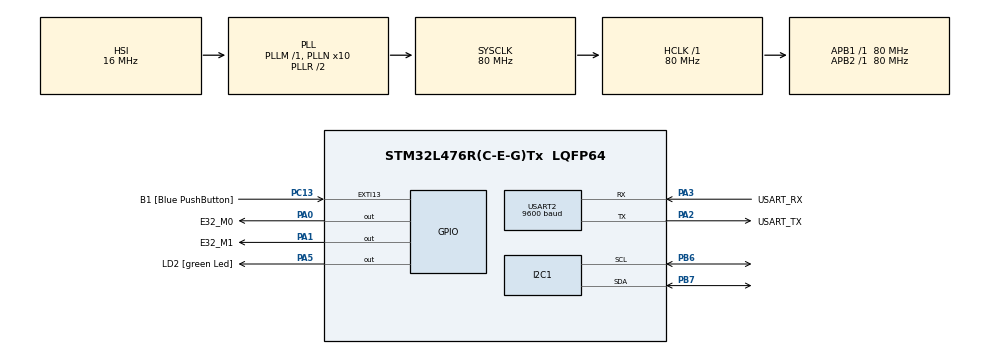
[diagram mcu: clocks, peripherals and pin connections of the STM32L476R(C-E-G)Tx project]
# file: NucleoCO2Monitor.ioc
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Mcu.Family=STM32L4
PA2.GPIO_PuPd=GPIO_NOPULL
TIM17.Prescaler=8000 - 1
RCC.CortexFreq_Value=80000000
VP_TIM17_VS_ClockSourceINT.Mode=Enable_Timer
PH0-OSC_IN\ (PH0).Signal=RCC_OSC_IN
PA3.GPIO_PuPd=GPIO_NOPULL
PA0.GPIO_Label=E32_M0
PA2.GPIO_Speed=GPIO_SPEED_FREQ_VERY_HIGH
PC15-OSC32_OUT\ (PC15).Mode=LSE-External-Oscillator
PC13.GPIO_Label=B1 [Blue PushButton]
PA3.GPIO_Speed=GPIO_SPEED_FREQ_VERY_HIGH
RCC.SYSCLKSource=RCC_SYSCLKSOURCE_PLLCLK
ProjectManager.StackSize=0x400
PB3\ (JTDO-TRACESWO).Signal=SYS_JTDO-SWO
PC14-OSC32_IN\ (PC14).Mode=LSE-External-Oscillator
PA14\ (JTCK-SWCLK).Signal=SYS_JTCK-SWCLK
TIM17.AutoReloadPreload=TIM_AUTORELOAD_PRELOAD_DISABLE
RCC.HCLKFreq_Value=80000000
RCC.APB2TimFreq_Value=80000000
PB6.Signal=I2C1_SCL
PB6.Mode=I2C
RCC.AHBFreq_Value=80000000
RCC.PREFETCH_ENABLE=1
RCC.HSE_VALUE=8000000
USART2.VirtualMode-Asynchronous=VM_ASYNC
TIM17.Period=5000
NVIC.TIM1_TRG_COM_TIM17_IRQn=true\:0\:0\:false\:false\:true\:true\:true
PA5.GPIO_PuPd=GPIO_NOPULL
PC13.GPIO_PuPd=GPIO_NOPULL
PB7.Signal=I2C1_SDA
PA0.Signal=GPIO_Output
Mcu.Package=LQFP64
PA2.GPIO_Label=USART_TX
RCC.APB1TimFreq_Value=80000000
TIM16.Prescaler=40000 - 1
PA13\ (JTMS-SWDIO).Signal=SYS_JTMS-SWDIO
PA3.Signal=USART2_RX
PA2.GPIO_Mode=GPIO_MODE_AF_PP
RCC.MSI_VALUE=4000000
RCC.PLLSourceVirtual=RCC_PLLSOURCE_HSI
PA14\ (JTCK-SWCLK).Mode=Serial_Wire
PC13.Signal=GPXTI13
PC15-OSC32_OUT\ (PC15).Signal=RCC_OSC32_OUT
VP_TIM16_VS_ClockSourceINT.Mode=Enable_Timer
PA14\ (JTCK-SWCLK).GPIO_Label=TCK
PB3\ (JTDO-TRACESWO).GPIO_Label=SWO
USART2.BaudRate=9600
PH1-OSC_OUT\ (PH1).Signal=RCC_OSC_OUT
PA3.Mode=Asynchronous
ProjectManager.TargetToolchain=STM32CubeIDE
PA3.GPIO_Mode=GPIO_MODE_AF_PP
I2C1.Timing=0x10909CEC
RCC.USBFreq_Value=64000000
PA1.Signal=GPIO_Output
PA5.Signal=GPIO_Output
board=NUCLEO-L476RG
RCC.VCOOutputFreq_Value=160000000
TIM16.Period=20000
RCC.APB2Freq_Value=80000000
PA5.GPIO_ModeDefaultOutputPP=GPIO_MODE_OUTPUT_PP
PA13\ (JTMS-SWDIO).GPIO_Label=TMS
RCC.ADCFreq_Value=64000000
PA1.GPIO_Label=E32_M1
Mcu.Name=STM32L476R(C-E-G)Tx
PA2.Signal=USART2_TX
PA13\ (JTMS-SWDIO).Mode=Serial_Wire
RCC.SYSCLKFreq_VALUE=80000000
PA5.GPIO_Label=LD2 [green Led]
PC13.GPIO_ModeDefaultEXTI=GPIO_MODE_IT_FALLING
PC14-OSC32_IN\ (PC14).Signal=RCC_OSC32_IN
PB7.Mode=I2C
ProjectManager.HeapSize=0x200
RCC.HSI_VALUE=16000000
NVIC.TIM1_UP_TIM16_IRQn=true\:0\:0\:false\:false\:true\:true\:true
PA5.GPIO_Speed=GPIO_SPEED_FREQ_LOW
NVIC.PriorityGroup=NVIC_PRIORITYGROUP_4
RCC.PLLN=10
PA2.Mode=Asynchronous
RCC.APB1Freq_Value=80000000
PA3.GPIO_Label=USART_RX

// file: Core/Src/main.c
/* USER CODE BEGIN Header */
/**
  ******************************************************************************
  * @file           : main.c
  * @brief          : Main program body
  ******************************************************************************
  * @attention
  *
  * <h2><center>&copy; Copyright (c) 2021 STMicroelectronics.
  * All rights reserved.</center></h2>
  *
  * This software component is licensed by ST under BSD 3-Clause license,
  * the "License"; You may not use this file except in compliance with the
  * License. You may obtain a copy of the License at:
  *                        opensource.org/licenses/BSD-3-Clause
  *
  ******************************************************************************
  */
/* USER CODE END Header */
#include "main.h"

/* USER CODE BEGIN Includes */
#include <stdio.h>
#include <stdbool.h>
#include <string.h>
/* USER CODE END Includes */

I2C_HandleTypeDef hi2c1;

TIM_HandleTypeDef htim16;
TIM_HandleTypeDef htim17;

UART_HandleTypeDef huart2;

/* USER CODE BEGIN PV */
HAL_StatusTypeDef status;
uint8_t address = 0x61 << 1;
float fCO2, fTemperature, fRH;
uint32_t pause = 5;
bool readSCD30 = false;
bool transmitReadings = false;
/* USER CODE END PV */

void SystemClock_Config(void);
static void MX_GPIO_Init(void);
static void MX_USART2_UART_Init(void);
static void MX_I2C1_Init(void);
static void MX_TIM17_Init(void);
static void MX_TIM16_Init(void);
/* USER CODE BEGIN PFP */
bool startSCD30(void);
bool getSCD30Status(void);
bool getSCD30Readings(void);
void toggleLED(void);
void startIndicator(void);
void e32TransmitReadings(void);
void e32Configure(void);
/* USER CODE END PFP */

int main(void)
{

  /* MCU Configuration--------------------------------------------------------*/

  /* Reset of all peripherals, Initializes the Flash interface and the Systick. */
  HAL_Init();

  /* Configure the system clock */
  SystemClock_Config();

  /* Initialize all configured peripherals */
  MX_GPIO_Init();
  MX_USART2_UART_Init();
  MX_I2C1_Init();
  MX_TIM17_Init();
  MX_TIM16_Init();
  /* USER CODE BEGIN 2 */

  // LED sequence to indicate start
  startIndicator();

  // configure E32
  e32Configure();

  // start SCD30
  startSCD30();

  // start timers
  HAL_TIM_Base_Start_IT(&htim16);
  HAL_TIM_Base_Start_IT(&htim17);

  /* USER CODE END 2 */

  /* Infinite loop */
  /* USER CODE BEGIN WHILE */
  while (1)
  {
	  if (readSCD30)
	  {
		  // check status and read if ready
		  if (getSCD30Status()) getSCD30Readings();

		  // clear flag
		  readSCD30 = false;
	  }

	  if (transmitReadings)
	  {
		  // send latest values
		  e32TransmitReadings();

		  // clear flag
		  transmitReadings = false;
	  }
    /* USER CODE END WHILE */

  }
}

void SystemClock_Config(void)
{
  RCC_OscInitTypeDef RCC_OscInitStruct = {0};
  RCC_ClkInitTypeDef RCC_ClkInitStruct = {0};
  RCC_PeriphCLKInitTypeDef PeriphClkInit = {0};

  /** Initializes the RCC Oscillators according to the specified parameters
  * in the RCC_OscInitTypeDef structure.
  */
  RCC_OscInitStruct.OscillatorType = RCC_OSCILLATORTYPE_HSI;
  RCC_OscInitStruct.HSIState = RCC_HSI_ON;
  RCC_OscInitStruct.HSICalibrationValue = RCC_HSICALIBRATION_DEFAULT;
  RCC_OscInitStruct.PLL.PLLState = RCC_PLL_ON;
  RCC_OscInitStruct.PLL.PLLSource = RCC_PLLSOURCE_HSI;
  RCC_OscInitStruct.PLL.PLLM = 1;
  RCC_OscInitStruct.PLL.PLLN = 10;
  RCC_OscInitStruct.PLL.PLLP = RCC_PLLP_DIV7;
  RCC_OscInitStruct.PLL.PLLQ = RCC_PLLQ_DIV2;
  RCC_OscInitStruct.PLL.PLLR = RCC_PLLR_DIV2;
  if (HAL_RCC_OscConfig(&RCC_OscInitStruct) != HAL_OK)
  {
    Error_Handler();
  }
  /** Initializes the CPU, AHB and APB buses clocks
  */
  RCC_ClkInitStruct.ClockType = RCC_CLOCKTYPE_HCLK|RCC_CLOCKTYPE_SYSCLK
                              |RCC_CLOCKTYPE_PCLK1|RCC_CLOCKTYPE_PCLK2;
  RCC_ClkInitStruct.SYSCLKSource = RCC_SYSCLKSOURCE_PLLCLK;
  RCC_ClkInitStruct.AHBCLKDivider = RCC_SYSCLK_DIV1;
  RCC_ClkInitStruct.APB1CLKDivider = RCC_HCLK_DIV1;
  RCC_ClkInitStruct.APB2CLKDivider = RCC_HCLK_DIV1;

  if (HAL_RCC_ClockConfig(&RCC_ClkInitStruct, FLASH_LATENCY_4) != HAL_OK)
  {
    Error_Handler();
  }
  PeriphClkInit.PeriphClockSelection = RCC_PERIPHCLK_USART2|RCC_PERIPHCLK_I2C1;
  PeriphClkInit.Usart2ClockSelection = RCC_USART2CLKSOURCE_PCLK1;
  PeriphClkInit.I2c1ClockSelection = RCC_I2C1CLKSOURCE_PCLK1;
  if (HAL_RCCEx_PeriphCLKConfig(&PeriphClkInit) != HAL_OK)
  {
    Error_Handler();
  }
  /** Configure the main internal regulator output voltage
  */
  if (HAL_PWREx_ControlVoltageScaling(PWR_REGULATOR_VOLTAGE_SCALE1) != HAL_OK)
  {
    Error_Handler();
  }
}

static void MX_I2C1_Init(void)
{

  hi2c1.Instance = I2C1;
  hi2c1.Init.Timing = 0x10909CEC;
  hi2c1.Init.OwnAddress1 = 0;
  hi2c1.Init.AddressingMode = I2C_ADDRESSINGMODE_7BIT;
  hi2c1.Init.DualAddressMode = I2C_DUALADDRESS_DISABLE;
  hi2c1.Init.OwnAddress2 = 0;
  hi2c1.Init.OwnAddress2Masks = I2C_OA2_NOMASK;
  hi2c1.Init.GeneralCallMode = I2C_GENERALCALL_DISABLE;
  hi2c1.Init.NoStretchMode = I2C_NOSTRETCH_DISABLE;
  if (HAL_I2C_Init(&hi2c1) != HAL_OK)
  {
    Error_Handler();
  }
  /** Configure Analogue filter
  */
  if (HAL_I2CEx_ConfigAnalogFilter(&hi2c1, I2C_ANALOGFILTER_ENABLE) != HAL_OK)
  {
    Error_Handler();
  }
  /** Configure Digital filter
  */
  if (HAL_I2CEx_ConfigDigitalFilter(&hi2c1, 0) != HAL_OK)
  {
    Error_Handler();
  }

}

static void MX_TIM16_Init(void)
{

  htim16.Instance = TIM16;
  htim16.Init.Prescaler = 40000 - 1;
  htim16.Init.CounterMode = TIM_COUNTERMODE_UP;
  htim16.Init.Period = 20000;
  htim16.Init.ClockDivision = TIM_CLOCKDIVISION_DIV1;
  htim16.Init.RepetitionCounter = 0;
  htim16.Init.AutoReloadPreload = TIM_AUTORELOAD_PRELOAD_DISABLE;
  if (HAL_TIM_Base_Init(&htim16) != HAL_OK)
  {
    Error_Handler();
  }

}

static void MX_TIM17_Init(void)
{

  htim17.Instance = TIM17;
  htim17.Init.Prescaler = 8000 - 1;
  htim17.Init.CounterMode = TIM_COUNTERMODE_UP;
  htim17.Init.Period = 5000;
  htim17.Init.ClockDivision = TIM_CLOCKDIVISION_DIV1;
  htim17.Init.RepetitionCounter = 0;
  htim17.Init.AutoReloadPreload = TIM_AUTORELOAD_PRELOAD_DISABLE;
  if (HAL_TIM_Base_Init(&htim17) != HAL_OK)
  {
    Error_Handler();
  }

}

static void MX_USART2_UART_Init(void)
{

  huart2.Instance = USART2;
  huart2.Init.BaudRate = 9600;
  huart2.Init.WordLength = UART_WORDLENGTH_8B;
  huart2.Init.StopBits = UART_STOPBITS_1;
  huart2.Init.Parity = UART_PARITY_NONE;
  huart2.Init.Mode = UART_MODE_TX_RX;
  huart2.Init.HwFlowCtl = UART_HWCONTROL_NONE;
  huart2.Init.OverSampling = UART_OVERSAMPLING_16;
  huart2.Init.OneBitSampling = UART_ONE_BIT_SAMPLE_DISABLE;
  huart2.AdvancedInit.AdvFeatureInit = UART_ADVFEATURE_NO_INIT;
  if (HAL_UART_Init(&huart2) != HAL_OK)
  {
    Error_Handler();
  }

}

static void MX_GPIO_Init(void)
{
  GPIO_InitTypeDef GPIO_InitStruct = {0};

  /* GPIO Ports Clock Enable */
  __HAL_RCC_GPIOC_CLK_ENABLE();
  __HAL_RCC_GPIOH_CLK_ENABLE();
  __HAL_RCC_GPIOA_CLK_ENABLE();
  __HAL_RCC_GPIOB_CLK_ENABLE();

  /*Configure GPIO pin Output Level */
  HAL_GPIO_WritePin(GPIOA, E32_M0_Pin|E32_M1_Pin|LD2_Pin, GPIO_PIN_RESET);

  /*Configure GPIO pin : B1_Pin */
  GPIO_InitStruct.Pin = B1_Pin;
  GPIO_InitStruct.Mode = GPIO_MODE_IT_FALLING;
  GPIO_InitStruct.Pull = GPIO_NOPULL;
  HAL_GPIO_Init(B1_GPIO_Port, &GPIO_InitStruct);

  /*Configure GPIO pins : E32_M0_Pin E32_M1_Pin LD2_Pin */
  GPIO_InitStruct.Pin = E32_M0_Pin|E32_M1_Pin|LD2_Pin;
  GPIO_InitStruct.Mode = GPIO_MODE_OUTPUT_PP;
  GPIO_InitStruct.Pull = GPIO_NOPULL;
  GPIO_InitStruct.Speed = GPIO_SPEED_FREQ_LOW;
  HAL_GPIO_Init(GPIOA, &GPIO_InitStruct);

}

/* USER CODE BEGIN 4 */

//////////////////////////////
// SCD30 functions
//////////////////////////////
bool startSCD30(void)
{
    uint8_t startCmd[] = {0x00, 0x10, 0x00, 0x00};

    return (HAL_I2C_Master_Transmit(&hi2c1, address, startCmd, 4, 100) == HAL_OK);
}

bool getSCD30Status(void)
{
    uint8_t statusCmd[] = {0x02, 0x02};
    uint8_t datain[3] = { 0 };

    if (HAL_I2C_Master_Transmit(&hi2c1, address, statusCmd, 2, 100) != HAL_OK) return false;

    HAL_Delay(pause);

    if (HAL_I2C_Master_Receive(&hi2c1, address, datain, 3, 100) != HAL_OK) return false;

	return (datain[1] == 1);
}

bool getSCD30Readings(void)
{
	uint8_t readCmd[] = {0x03, 0x00};
    uint8_t dataBuffer[18] = { 0 };
    uint8_t co2Bytes[4] = { 0 };
    uint8_t tempBytes[4] = { 0 };
    uint8_t rhBytes[4] = { 0 };

    // send reading request
    if (HAL_I2C_Master_Transmit(&hi2c1, address, readCmd, 2, 100) != HAL_OK) return false;

    // wait 5ms
    HAL_Delay(pause);

    // read back data
    if (HAL_I2C_Master_Receive(&hi2c1, address, dataBuffer, 18, 100) != HAL_OK) return false;

    // convert to floats
    co2Bytes[0] = dataBuffer[4];
    co2Bytes[1] = dataBuffer[3];
    co2Bytes[2] = dataBuffer[1];
    co2Bytes[3] = dataBuffer[0];

    tempBytes[0] = dataBuffer[10];
    tempBytes[1] = dataBuffer[9];
    tempBytes[2] = dataBuffer[7];
    tempBytes[3] = dataBuffer[6];

    rhBytes[0] = dataBuffer[16];
    rhBytes[1] = dataBuffer[15];
    rhBytes[2] = dataBuffer[13];
    rhBytes[3] = dataBuffer[12];

    fCO2 = *(float*)co2Bytes;

    fTemperature = *(float*)tempBytes;

    fRH = *(float*)rhBytes;

    // toggle LED to show activity
    toggleLED();

	return true;
}

//////////////////////////////
// E32 functions
//////////////////////////////

void e32TransmitReadings(void)
{
	char data[50] = {0};

	// copy values into buffer
	//memcpy(&data[0], &fCO2, sizeof(float));
	//memcpy(&data[4], &fTemperature, sizeof(float));
	//memcpy(&data[8], &fRH, sizeof(float));

	// build CSV message
	sprintf(data, "%.2f,%.2f,%.2f\r", fCO2, fTemperature, fRH);

	// transmit buffer
	HAL_UART_Transmit(&huart2, (uint8_t*)data, strlen(data), 100);
}

void e32Configure(void)
{
	uint8_t data[] = { 0xC2, 0x00, 0x01, 0x1A, 0x17, 0x44 };

	// set M0 and M1 high (config mode)
	HAL_GPIO_WritePin(E32_M0_GPIO_Port, E32_M0_Pin, GPIO_PIN_SET);
	HAL_GPIO_WritePin(E32_M1_GPIO_Port, E32_M1_Pin, GPIO_PIN_SET);

	HAL_Delay(10);

	HAL_UART_Transmit(&huart2, data, sizeof(data), 100);

	// short delay before putting into normal mode
	HAL_Delay(10);

	// set M0 and M1 low (normal mode)
	HAL_GPIO_WritePin(E32_M0_GPIO_Port, E32_M0_Pin, GPIO_PIN_RESET);
	HAL_GPIO_WritePin(E32_M1_GPIO_Port, E32_M1_Pin, GPIO_PIN_RESET);
}

//////////////////////////////
// General functions
//////////////////////////////

void toggleLED(void)
{
	HAL_GPIO_TogglePin(LD2_GPIO_Port, LD2_Pin);
}

// LED startup sequence
void startIndicator(void)
{
	uint32_t delay;

	for (int i=0; i < 3; i++)
	{
		for (int j=0; j < 5; j++)
		{
			toggleLED();
			delay = (i == 1) ? 100 : 500;
			HAL_Delay(delay);
		}
	}
}

//////////////////////////////
// ISRs
//////////////////////////////

void HAL_TIM_PeriodElapsedCallback(TIM_HandleTypeDef *htim)
{
	if (htim == &htim16)			// UART timer
	{
		transmitReadings = true;
	}
	else if (htim == &htim17)		// I2C timer
	{
		readSCD30 = true;
	}
}

/* USER CODE END 4 */

void Error_Handler(void)
{
  __disable_irq();
  while (1)
  {
  }
}

/************************ (C) COPYRIGHT STMicroelectronics *****END OF FILE****/
